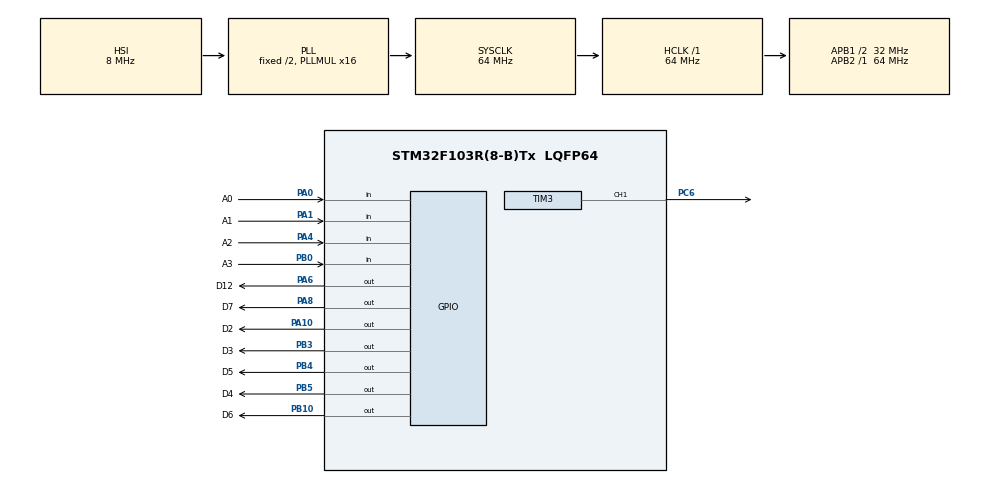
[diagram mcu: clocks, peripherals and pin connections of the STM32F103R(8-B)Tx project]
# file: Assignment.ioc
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Mcu.Family=STM32F1
Mcu.Name=STM32F103R(8-B)Tx
Mcu.Package=LQFP64
NVIC.PriorityGroup=NVIC_PRIORITYGROUP_4
NVIC.TIM2_IRQn=true\:0\:0\:false\:false\:true\:true\:true
NVIC.TIM3_IRQn=true\:0\:0\:false\:false\:true\:true\:true
PA0-WKUP.GPIO_Label=A0
PA0-WKUP.GPIO_PuPd=GPIO_PULLUP
PA0-WKUP.Signal=GPIO_Input
PA1.GPIO_Label=A1
PA1.GPIO_PuPd=GPIO_PULLUP
PA1.Signal=GPIO_Input
PA10.GPIO_Label=D2
PA10.Signal=GPIO_Output
PA13.Mode=Serial_Wire
PA13.Signal=SYS_JTMS-SWDIO
PA14.Mode=Serial_Wire
PA14.Signal=SYS_JTCK-SWCLK
PA4.GPIO_Label=A2
PA4.GPIO_PuPd=GPIO_PULLUP
PA4.Signal=GPIO_Input
PA6.GPIO_Label=D12
PA6.Signal=GPIO_Output
PA8.GPIO_Label=D7
PA8.Signal=GPIO_Output
PB0.GPIO_Label=A3
PB0.GPIO_PuPd=GPIO_PULLUP
PB0.Signal=GPIO_Input
PB10.GPIO_Label=D6
PB10.Signal=GPIO_Output
PB3.GPIO_Label=D3
PB3.Signal=GPIO_Output
PB4.GPIO_Label=D5
PB4.Signal=GPIO_Output
PB5.GPIO_Label=D4
PB5.Signal=GPIO_Output
PC6.Signal=S_TIM3_CH1
ProjectManager.HeapSize=0x200
ProjectManager.StackSize=0x400
ProjectManager.TargetToolchain=STM32CubeIDE
RCC.AHBFreq_Value=64000000
RCC.APB1CLKDivider=RCC_HCLK_DIV2
RCC.APB1Freq_Value=32000000
RCC.APB1TimFreq_Value=64000000
RCC.APB2Freq_Value=64000000
RCC.APB2TimFreq_Value=64000000
RCC.HCLKFreq_Value=64000000
RCC.PLLMUL=RCC_PLL_MUL16
RCC.SYSCLKFreq_VALUE=64000000
RCC.SYSCLKSource=RCC_SYSCLKSOURCE_PLLCLK
RCC.USBFreq_Value=64000000
SH.S_TIM3_CH1.0=TIM3_CH1,PWM Generation1 CH1
TIM2.Period=9
TIM2.Prescaler=7999
TIM3.Channel-PWM\ Generation1\ CH1=TIM_CHANNEL_1
TIM3.Period=9999
TIM3.Prescaler=63
VP_TIM2_VS_ClockSourceINT.Mode=Internal
board=custom

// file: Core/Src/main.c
/* USER CODE BEGIN Header */
/**
  ******************************************************************************
  * @file           : main.c
  * @brief          : Main program body
  ******************************************************************************
  * @attention
  *
  * <h2><center>&copy; Copyright (c) 2022 STMicroelectronics.
  * All rights reserved.</center></h2>
  *
  * This software component is licensed by ST under BSD 3-Clause license,
  * the "License"; You may not use this file except in compliance with the
  * License. You may obtain a copy of the License at:
  *                        opensource.org/licenses/BSD-3-Clause
  *
  ******************************************************************************
  */
/* USER CODE END Header */
#include "main.h"

/* USER CODE BEGIN Includes */
#include "global.h"
#include "auto_fsm.h"
#include "man_fsm.h"
#include "tun_fsm.h"
#include "ped_fsm.h"
/* USER CODE END Includes */

TIM_HandleTypeDef htim2;
TIM_HandleTypeDef htim3;

void SystemClock_Config(void);
static void MX_GPIO_Init(void);
static void MX_TIM2_Init(void);
static void MX_TIM3_Init(void);

/* USER CODE BEGIN 0 */
//void Test_IO() {
//	HAL_GPIO_WritePin(D2_GPIO_Port, D2_Pin,
//			HAL_GPIO_ReadPin(A1_GPIO_Port, A1_Pin));
//	HAL_GPIO_WritePin(D3_GPIO_Port, D3_Pin,
//			HAL_GPIO_ReadPin(A2_GPIO_Port, A2_Pin));
//	HAL_GPIO_WritePin(D4_GPIO_Port, D4_Pin,
//			HAL_GPIO_ReadPin(A3_GPIO_Port, A3_Pin));
//	HAL_GPIO_WritePin(D6_GPIO_Port, D6_Pin,
//			HAL_GPIO_ReadPin(A0_GPIO_Port, A0_Pin));
//}
/* USER CODE END 0 */

int main(void)
{

  /* MCU Configuration--------------------------------------------------------*/

  /* Reset of all peripherals, Initializes the Flash interface and the Systick. */
  HAL_Init();

  /* Configure the system clock */
  SystemClock_Config();

  /* Initialize all configured peripherals */
  MX_GPIO_Init();
  MX_TIM2_Init();
  MX_TIM3_Init();
  /* USER CODE BEGIN 2 */
  HAL_TIM_PWM_Start(&htim3, TIM_CHANNEL_1);
  HAL_TIM_Base_Start_IT(&htim2);
  //HAL_TIMEx_PWMN_Start(&htim3, TIM_CHANNEL_1);
//  htim3.Instance->CCR1 = 0;
  /* USER CODE END 2 */

  /* Infinite loop */
  /* USER CODE BEGIN WHILE */
  status = INIT;
  while (1)
  {
	  auto_fsm_run();
	  man_fsm_run();
	  tun_fsm_run();
	  ped_fsm_run();
	  //HAL_Delay(10);

	  __HAL_TIM_SetCompare(&htim3, TIM_CHANNEL_1, 100);
	  HAL_Delay(1000);
	  __HAL_TIM_SetCompare(&htim3, TIM_CHANNEL_1, 1000);
	  HAL_Delay(1000);
    /* USER CODE END WHILE */

  }
}

void SystemClock_Config(void)
{
  RCC_OscInitTypeDef RCC_OscInitStruct = {0};
  RCC_ClkInitTypeDef RCC_ClkInitStruct = {0};

  /** Initializes the RCC Oscillators according to the specified parameters
  * in the RCC_OscInitTypeDef structure.
  */
  RCC_OscInitStruct.OscillatorType = RCC_OSCILLATORTYPE_HSI;
  RCC_OscInitStruct.HSIState = RCC_HSI_ON;
  RCC_OscInitStruct.HSICalibrationValue = RCC_HSICALIBRATION_DEFAULT;
  RCC_OscInitStruct.PLL.PLLState = RCC_PLL_ON;
  RCC_OscInitStruct.PLL.PLLSource = RCC_PLLSOURCE_HSI_DIV2;
  RCC_OscInitStruct.PLL.PLLMUL = RCC_PLL_MUL16;
  if (HAL_RCC_OscConfig(&RCC_OscInitStruct) != HAL_OK)
  {
    Error_Handler();
  }
  /** Initializes the CPU, AHB and APB buses clocks
  */
  RCC_ClkInitStruct.ClockType = RCC_CLOCKTYPE_HCLK|RCC_CLOCKTYPE_SYSCLK
                              |RCC_CLOCKTYPE_PCLK1|RCC_CLOCKTYPE_PCLK2;
  RCC_ClkInitStruct.SYSCLKSource = RCC_SYSCLKSOURCE_PLLCLK;
  RCC_ClkInitStruct.AHBCLKDivider = RCC_SYSCLK_DIV1;
  RCC_ClkInitStruct.APB1CLKDivider = RCC_HCLK_DIV2;
  RCC_ClkInitStruct.APB2CLKDivider = RCC_HCLK_DIV1;

  if (HAL_RCC_ClockConfig(&RCC_ClkInitStruct, FLASH_LATENCY_2) != HAL_OK)
  {
    Error_Handler();
  }
}

static void MX_TIM2_Init(void)
{

  TIM_ClockConfigTypeDef sClockSourceConfig = {0};
  TIM_MasterConfigTypeDef sMasterConfig = {0};

  htim2.Instance = TIM2;
  htim2.Init.Prescaler = 7999;
  htim2.Init.CounterMode = TIM_COUNTERMODE_UP;
  htim2.Init.Period = 9;
  htim2.Init.ClockDivision = TIM_CLOCKDIVISION_DIV1;
  htim2.Init.AutoReloadPreload = TIM_AUTORELOAD_PRELOAD_DISABLE;
  if (HAL_TIM_Base_Init(&htim2) != HAL_OK)
  {
    Error_Handler();
  }
  sClockSourceConfig.ClockSource = TIM_CLOCKSOURCE_INTERNAL;
  if (HAL_TIM_ConfigClockSource(&htim2, &sClockSourceConfig) != HAL_OK)
  {
    Error_Handler();
  }
  sMasterConfig.MasterOutputTrigger = TIM_TRGO_RESET;
  sMasterConfig.MasterSlaveMode = TIM_MASTERSLAVEMODE_DISABLE;
  if (HAL_TIMEx_MasterConfigSynchronization(&htim2, &sMasterConfig) != HAL_OK)
  {
    Error_Handler();
  }

}

static void MX_TIM3_Init(void)
{

  TIM_MasterConfigTypeDef sMasterConfig = {0};
  TIM_OC_InitTypeDef sConfigOC = {0};

  htim3.Instance = TIM3;
  htim3.Init.Prescaler = 63;
  htim3.Init.CounterMode = TIM_COUNTERMODE_UP;
  htim3.Init.Period = 9999;
  htim3.Init.ClockDivision = TIM_CLOCKDIVISION_DIV1;
  htim3.Init.AutoReloadPreload = TIM_AUTORELOAD_PRELOAD_DISABLE;
  if (HAL_TIM_PWM_Init(&htim3) != HAL_OK)
  {
    Error_Handler();
  }
  sMasterConfig.MasterOutputTrigger = TIM_TRGO_RESET;
  sMasterConfig.MasterSlaveMode = TIM_MASTERSLAVEMODE_DISABLE;
  if (HAL_TIMEx_MasterConfigSynchronization(&htim3, &sMasterConfig) != HAL_OK)
  {
    Error_Handler();
  }
  sConfigOC.OCMode = TIM_OCMODE_PWM1;
  sConfigOC.Pulse = 0;
  sConfigOC.OCPolarity = TIM_OCPOLARITY_HIGH;
  sConfigOC.OCFastMode = TIM_OCFAST_DISABLE;
  if (HAL_TIM_PWM_ConfigChannel(&htim3, &sConfigOC, TIM_CHANNEL_1) != HAL_OK)
  {
    Error_Handler();
  }
  HAL_TIM_MspPostInit(&htim3);

}

static void MX_GPIO_Init(void)
{
  GPIO_InitTypeDef GPIO_InitStruct = {0};

  /* GPIO Ports Clock Enable */
  __HAL_RCC_GPIOA_CLK_ENABLE();
  __HAL_RCC_GPIOB_CLK_ENABLE();
  __HAL_RCC_GPIOC_CLK_ENABLE();

  /*Configure GPIO pin Output Level */
  HAL_GPIO_WritePin(GPIOA, D12_Pin|D7_Pin|D2_Pin, GPIO_PIN_RESET);

  /*Configure GPIO pin Output Level */
  HAL_GPIO_WritePin(GPIOB, D6_Pin|D3_Pin|D5_Pin|D4_Pin, GPIO_PIN_RESET);

  /*Configure GPIO pins : A0_Pin A1_Pin A2_Pin */
  GPIO_InitStruct.Pin = A0_Pin|A1_Pin|A2_Pin;
  GPIO_InitStruct.Mode = GPIO_MODE_INPUT;
  GPIO_InitStruct.Pull = GPIO_PULLUP;
  HAL_GPIO_Init(GPIOA, &GPIO_InitStruct);

  /*Configure GPIO pins : D12_Pin D7_Pin D2_Pin */
  GPIO_InitStruct.Pin = D12_Pin|D7_Pin|D2_Pin;
  GPIO_InitStruct.Mode = GPIO_MODE_OUTPUT_PP;
  GPIO_InitStruct.Pull = GPIO_NOPULL;
  GPIO_InitStruct.Speed = GPIO_SPEED_FREQ_LOW;
  HAL_GPIO_Init(GPIOA, &GPIO_InitStruct);

  /*Configure GPIO pin : A3_Pin */
  GPIO_InitStruct.Pin = A3_Pin;
  GPIO_InitStruct.Mode = GPIO_MODE_INPUT;
  GPIO_InitStruct.Pull = GPIO_PULLUP;
  HAL_GPIO_Init(A3_GPIO_Port, &GPIO_InitStruct);

  /*Configure GPIO pins : D6_Pin D3_Pin D5_Pin D4_Pin */
  GPIO_InitStruct.Pin = D6_Pin|D3_Pin|D5_Pin|D4_Pin;
  GPIO_InitStruct.Mode = GPIO_MODE_OUTPUT_PP;
  GPIO_InitStruct.Pull = GPIO_NOPULL;
  GPIO_InitStruct.Speed = GPIO_SPEED_FREQ_LOW;
  HAL_GPIO_Init(GPIOB, &GPIO_InitStruct);

}

/* USER CODE BEGIN 4 */
void HAL_TIM_PeriodElapsedCallback(TIM_HandleTypeDef *htim) {
	TimerRun();
	GetKeyInput1();
	GetKeyInput2();
	GetKeyInput3();
}
/* USER CODE END 4 */

void Error_Handler(void)
{
  __disable_irq();
  while (1)
  {
  }
}

/************************ (C) COPYRIGHT STMicroelectronics *****END OF FILE****/
